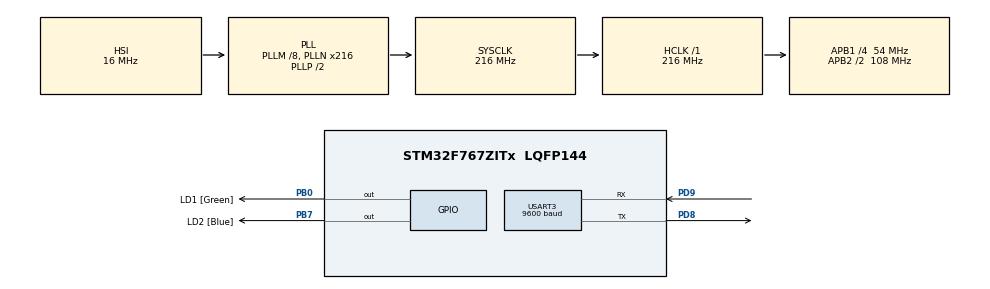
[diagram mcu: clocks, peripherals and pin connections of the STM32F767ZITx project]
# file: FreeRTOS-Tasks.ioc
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FREERTOS.Tasks01=defaultTask,24,128,StartDefaultTask,Default,NULL,Dynamic,NULL,NULL
FREERTOS.configUSE_NEWLIB_REENTRANT=1
Mcu.Family=STM32F7
Mcu.Name=STM32F767ZITx
Mcu.Package=LQFP144
NVIC.PriorityGroup=NVIC_PRIORITYGROUP_4
NVIC.TIM1_UP_TIM10_IRQn=true\:15\:0\:false\:false\:true\:false\:false\:true
NVIC.TimeBase=TIM1_UP_TIM10_IRQn
NVIC.TimeBaseIP=TIM1
PB0.GPIO_Label=LD1 [Green]
PB0.Signal=GPIO_Output
PB7.GPIO_Label=LD2 [Blue]
PB7.Signal=GPIO_Output
PC14/OSC32_IN.Signal=RCC_OSC32_IN
PC15/OSC32_OUT.Signal=RCC_OSC32_OUT
PD8.Mode=Asynchronous
PD8.Signal=USART3_TX
PD9.Mode=Asynchronous
PD9.Signal=USART3_RX
PH0/OSC_IN.Mode=HSE-External-Oscillator
PH0/OSC_IN.Signal=RCC_OSC_IN
PH1/OSC_OUT.Mode=HSE-External-Oscillator
PH1/OSC_OUT.Signal=RCC_OSC_OUT
ProjectManager.HeapSize=0x200
ProjectManager.StackSize=0x400
ProjectManager.TargetToolchain=STM32CubeIDE
RCC.48MHZClocksFreq_Value=24000000
RCC.AHBFreq_Value=216000000
RCC.APB1CLKDivider=RCC_HCLK_DIV4
RCC.APB1Freq_Value=54000000
RCC.APB1TimFreq_Value=108000000
RCC.APB2CLKDivider=RCC_HCLK_DIV2
RCC.APB2Freq_Value=108000000
RCC.APB2TimFreq_Value=216000000
RCC.CortexFreq_Value=216000000
RCC.HCLKFreq_Value=216000000
RCC.HSE_VALUE=16000000
RCC.HSI_VALUE=16000000
RCC.LSE_VALUE=32768
RCC.PLLM=8
RCC.PLLMUL=RCC_PLL_MUL9
RCC.PLLN=216
RCC.PRESCALERUSB=RCC_USBCLKSOURCE_PLL_DIV1_5
RCC.SYSCLKFreq_VALUE=216000000
RCC.SYSCLKSource=RCC_SYSCLKSOURCE_PLLCLK
RCC.SYSCLKSourceVirtual=RCC_SYSCLKSOURCE_PLLCLK
RCC.USBFreq_Value=216000000
RCC.VCOOutputFreq_Value=432000000
USART3.BaudRate=9600
USART3.VirtualMode-Asynchronous=VM_ASYNC
VP_FREERTOS_VS_CMSIS_V2.Mode=CMSIS_V2
VP_SYS_VS_tim1.Mode=TIM1
board=NUCLEO-F767ZI

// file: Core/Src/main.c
/* USER CODE BEGIN Header */
/**
  ******************************************************************************
  * @file           : main.c
  * @brief          : Main program body
  ******************************************************************************
  FreeRTOS Example launching 2 tasks that each of them toggles LED
  the tasks are with the same priority
  each task sends via usart3 a message to PC, we can read the message with PUTTY

  *** alternatively we can do one task that gets parameters and implement the same behavior we 2 tasks running on the same function***

  ******************************************************************************
  */
/* USER CODE END Header */
#include "main.h"
#include "cmsis_os.h"

/* USER CODE BEGIN Includes */
#include "task.h"
#include "FreeRTOS.h"
#include <stdio.h>
#include <string.h>
/* USER CODE END Includes */

UART_HandleTypeDef huart3;

/* Definitions for defaultTask */
osThreadId_t defaultTaskHandle;
const osThreadAttr_t defaultTask_attributes = {
  .name = "defaultTask",
  .stack_size = 128 * 4,
  .priority = (osPriority_t) osPriorityNormal,
};
/* USER CODE BEGIN PV */

TaskHandle_t task1_handle;
TaskHandle_t task2_handle;

/* USER CODE END PV */

void SystemClock_Config(void);
static void MX_GPIO_Init(void);
static void MX_USART3_UART_Init(void);
void StartDefaultTask(void *argument);

/* USER CODE BEGIN PFP */

void task1_handler(void * params);
void task2_handler(void * params);
void send_msg_to_pc(const char * msg);

/* USER CODE END PFP */

int main(void)
{

  /* MCU Configuration--------------------------------------------------------*/

  /* Reset of all peripherals, Initializes the Flash interface and the Systick. */
  HAL_Init();

  /* Configure the system clock */
  SystemClock_Config();

  /* Initialize all configured peripherals */
  MX_GPIO_Init();
  MX_USART3_UART_Init();

  /* Init scheduler */
  osKernelInitialize();

  /* Create the thread(s) */
  /* creation of defaultTask */
  defaultTaskHandle = osThreadNew(StartDefaultTask, NULL, &defaultTask_attributes);

  /* USER CODE BEGIN RTOS_THREADS */
  /* add threads, ... */
  // create task1 handler
   if( xTaskCreate(task1_handler,"task1",configMINIMAL_STACK_SIZE,0, 3, &task1_handle) != pdPASS)
   {
 	  // add an error msg
   }

   // create task2 handler
      if( xTaskCreate(task2_handler,"task2",configMINIMAL_STACK_SIZE,0, 3, &task2_handle) != pdPASS)
      {
    	  // add an error msg
      }
  /* USER CODE END RTOS_THREADS */

  /* Start scheduler */
  osKernelStart();

  /* We should never get here as control is now taken by the scheduler */
  /* Infinite loop */
  while (1)
  {

  }
}

void SystemClock_Config(void)
{
  RCC_OscInitTypeDef RCC_OscInitStruct = {0};
  RCC_ClkInitTypeDef RCC_ClkInitStruct = {0};
  RCC_PeriphCLKInitTypeDef PeriphClkInitStruct = {0};

  /** Configure the main internal regulator output voltage
  */
  __HAL_RCC_PWR_CLK_ENABLE();
  __HAL_PWR_VOLTAGESCALING_CONFIG(PWR_REGULATOR_VOLTAGE_SCALE1);
  /** Initializes the RCC Oscillators according to the specified parameters
  * in the RCC_OscInitTypeDef structure.
  */
  RCC_OscInitStruct.OscillatorType = RCC_OSCILLATORTYPE_HSI;
  RCC_OscInitStruct.HSIState = RCC_HSI_ON;
  RCC_OscInitStruct.HSICalibrationValue = RCC_HSICALIBRATION_DEFAULT;
  RCC_OscInitStruct.PLL.PLLState = RCC_PLL_ON;
  RCC_OscInitStruct.PLL.PLLSource = RCC_PLLSOURCE_HSI;
  RCC_OscInitStruct.PLL.PLLM = 8;
  RCC_OscInitStruct.PLL.PLLN = 216;
  RCC_OscInitStruct.PLL.PLLP = RCC_PLLP_DIV2;
  RCC_OscInitStruct.PLL.PLLQ = 2;
  RCC_OscInitStruct.PLL.PLLR = 2;
  if (HAL_RCC_OscConfig(&RCC_OscInitStruct) != HAL_OK)
  {
    Error_Handler();
  }
  /** Activate the Over-Drive mode
  */
  if (HAL_PWREx_EnableOverDrive() != HAL_OK)
  {
    Error_Handler();
  }
  /** Initializes the CPU, AHB and APB buses clocks
  */
  RCC_ClkInitStruct.ClockType = RCC_CLOCKTYPE_HCLK|RCC_CLOCKTYPE_SYSCLK
                              |RCC_CLOCKTYPE_PCLK1|RCC_CLOCKTYPE_PCLK2;
  RCC_ClkInitStruct.SYSCLKSource = RCC_SYSCLKSOURCE_PLLCLK;
  RCC_ClkInitStruct.AHBCLKDivider = RCC_SYSCLK_DIV1;
  RCC_ClkInitStruct.APB1CLKDivider = RCC_HCLK_DIV4;
  RCC_ClkInitStruct.APB2CLKDivider = RCC_HCLK_DIV2;

  if (HAL_RCC_ClockConfig(&RCC_ClkInitStruct, FLASH_LATENCY_7) != HAL_OK)
  {
    Error_Handler();
  }
  PeriphClkInitStruct.PeriphClockSelection = RCC_PERIPHCLK_USART3;
  PeriphClkInitStruct.Usart3ClockSelection = RCC_USART3CLKSOURCE_PCLK1;
  if (HAL_RCCEx_PeriphCLKConfig(&PeriphClkInitStruct) != HAL_OK)
  {
    Error_Handler();
  }
}

static void MX_USART3_UART_Init(void)
{

  huart3.Instance = USART3;
  huart3.Init.BaudRate = 9600;
  huart3.Init.WordLength = UART_WORDLENGTH_8B;
  huart3.Init.StopBits = UART_STOPBITS_1;
  huart3.Init.Parity = UART_PARITY_NONE;
  huart3.Init.Mode = UART_MODE_TX_RX;
  huart3.Init.HwFlowCtl = UART_HWCONTROL_NONE;
  huart3.Init.OverSampling = UART_OVERSAMPLING_16;
  huart3.Init.OneBitSampling = UART_ONE_BIT_SAMPLE_DISABLE;
  huart3.AdvancedInit.AdvFeatureInit = UART_ADVFEATURE_NO_INIT;
  if (HAL_UART_Init(&huart3) != HAL_OK)
  {
    Error_Handler();
  }

}

static void MX_GPIO_Init(void)
{
  GPIO_InitTypeDef GPIO_InitStruct = {0};

  /* GPIO Ports Clock Enable */
  __HAL_RCC_GPIOC_CLK_ENABLE();
  __HAL_RCC_GPIOH_CLK_ENABLE();
  __HAL_RCC_GPIOB_CLK_ENABLE();
  __HAL_RCC_GPIOD_CLK_ENABLE();

  /*Configure GPIO pin Output Level */
  HAL_GPIO_WritePin(GPIOB, LD1_Pin|LD2_Pin, GPIO_PIN_RESET);

  /*Configure GPIO pins : LD1_Pin LD2_Pin */
  GPIO_InitStruct.Pin = LD1_Pin|LD2_Pin;
  GPIO_InitStruct.Mode = GPIO_MODE_OUTPUT_PP;
  GPIO_InitStruct.Pull = GPIO_NOPULL;
  GPIO_InitStruct.Speed = GPIO_SPEED_FREQ_LOW;
  HAL_GPIO_Init(GPIOB, &GPIO_InitStruct);

}

/* USER CODE BEGIN 4 */

void task1_handler(void * params)
{
	while(1)
	{
		vTaskDelay(1000);
		HAL_GPIO_TogglePin(LD1_GPIO_Port, LD1_Pin);
		send_msg_to_pc("Task1 toggeled green LED\r\n");
	}
}

void task2_handler(void * params)
{
	while(1)
		{
			vTaskDelay(1000);
			HAL_GPIO_TogglePin(LD2_GPIO_Port, LD2_Pin);
			send_msg_to_pc("Task2 toggeled red LED\r\n");
		}
}

//send msg uart to pc
void send_msg_to_pc(const char * msg)
{
	HAL_UART_Transmit(&huart3, (const uint8_t *)msg, strlen(msg), 100);

}

/* USER CODE END 4 */

void StartDefaultTask(void *argument)
{
  for(;;)
  {
    osDelay(1);
  }
}

void HAL_TIM_PeriodElapsedCallback(TIM_HandleTypeDef *htim)
{
  if (htim->Instance == TIM1) {
    HAL_IncTick();
  }
}

void Error_Handler(void)
{
  __disable_irq();
  while (1)
  {
  }
}

/************************ (C) COPYRIGHT STMicroelectronics *****END OF FILE****/
